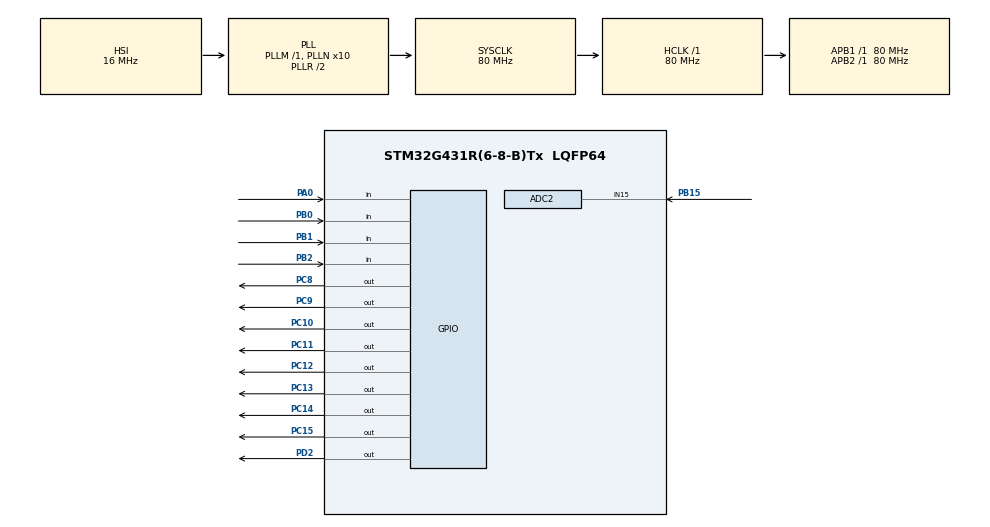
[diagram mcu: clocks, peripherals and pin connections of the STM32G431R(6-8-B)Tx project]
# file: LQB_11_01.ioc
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ADC2.Channel-0\#ChannelRegularConversion=ADC_CHANNEL_15
ADC2.NbrOfConversionFlag=1
ADC2.OffsetNumber-0\#ChannelRegularConversion=ADC_OFFSET_NONE
ADC2.Rank-0\#ChannelRegularConversion=1
ADC2.SamplingTime-0\#ChannelRegularConversion=ADC_SAMPLETIME_2CYCLES_5
Mcu.Family=STM32G4
Mcu.Name=STM32G431R(6-8-B)Tx
Mcu.Package=LQFP64
NVIC.PriorityGroup=NVIC_PRIORITYGROUP_4
NVIC.TIM6_DAC_IRQn=true\:3\:0\:true\:false\:true\:true\:true
PA0.Signal=GPIO_Input
PB0.Signal=GPIO_Input
PB1.Signal=GPIO_Input
PB15.Mode=IN15-Single-Ended
PB15.Signal=ADC2_IN15
PB2.Signal=GPIO_Input
PC10.PinState=GPIO_PIN_SET
PC10.Signal=GPIO_Output
PC11.PinState=GPIO_PIN_SET
PC11.Signal=GPIO_Output
PC12.PinState=GPIO_PIN_SET
PC12.Signal=GPIO_Output
PC13.PinState=GPIO_PIN_SET
PC13.Signal=GPIO_Output
PC14-OSC32_IN.PinState=GPIO_PIN_SET
PC14-OSC32_IN.Signal=GPIO_Output
PC15-OSC32_OUT.PinState=GPIO_PIN_SET
PC15-OSC32_OUT.Signal=GPIO_Output
PC8.PinState=GPIO_PIN_SET
PC8.Signal=GPIO_Output
PC9.PinState=GPIO_PIN_SET
PC9.Signal=GPIO_Output
PD2.Signal=GPIO_Output
ProjectManager.HeapSize=0x200
ProjectManager.StackSize=0x400
ProjectManager.TargetToolchain=MDK-ARM V5.32
RCC.ADC12Freq_Value=80000000
RCC.AHBFreq_Value=80000000
RCC.APB1Freq_Value=80000000
RCC.APB1TimFreq_Value=80000000
RCC.APB2Freq_Value=80000000
RCC.APB2TimFreq_Value=80000000
RCC.CortexFreq_Value=80000000
RCC.EXTERNAL_CLOCK_VALUE=12288000
RCC.HCLKFreq_Value=80000000
RCC.HSE_VALUE=8000000
RCC.HSI48_VALUE=48000000
RCC.HSI_VALUE=16000000
RCC.LSE_VALUE=32768
RCC.PLLN=10
RCC.SYSCLKFreq_VALUE=80000000
RCC.SYSCLKSource=RCC_SYSCLKSOURCE_PLLCLK
RCC.USBFreq_Value=80000000
RCC.VCOOutputFreq_Value=160000000
TIM6.PeriodNoDither=10000
TIM6.Prescaler=7999
VP_SYS_VS_DBSignals.Mode=DisableDeadBatterySignals
VP_TIM6_VS_ClockSourceINT.Mode=Enable_Timer
board=custom

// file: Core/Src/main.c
/* USER CODE BEGIN Header */
/**
  ******************************************************************************
  * @file           : main.c
  * @brief          : Main program body
  ******************************************************************************
  * @attention
  *
  * Copyright (c) 2022 STMicroelectronics.
  * All rights reserved.
  *
  * This software is licensed under terms that can be found in the LICENSE file
  * in the root directory of this software component.
  * If no LICENSE file comes with this software, it is provided AS-IS.
  *
  ******************************************************************************
  */
/* USER CODE END Header */
#include "main.h"
#include "adc.h"
#include "tim.h"
#include "gpio.h"

/* USER CODE BEGIN Includes */
#include "lcd.h"
#include "stdio.h"
/* USER CODE END Includes */

/* USER CODE BEGIN PV */
__IO uint32_t uwTick_Lcd_Set_Point;
__IO uint32_t uwTick_Key_Set_Point;
__IO uint32_t uwTick_ADC_Set_Point;
__IO uint32_t uwTick_Led_Set_Point;

unsigned char pucStr_Disp[21];
double ADC_Value_AVE, ADC_Value_SUM, ADC_Value_AVE_Old;
unsigned char ucTime;
unsigned char ucKey_Val, ucKey_Down, ucKey_Old;
unsigned char ucState, ucFlag = 0;
double V_max = 3, V_min = 1, V_max_Ctrl = 3, V_min_Ctrl = 1;
unsigned char ucNum_ADC;
unsigned long ulSec;
unsigned char ucLed;
/* USER CODE END PV */

void SystemClock_Config(void);
/* USER CODE BEGIN PFP */
void LCD_Proc(void);
void Key_Proc(void);
void ADC_Proc(void);
void Led_Proc(void);
/* USER CODE END PFP */

int main(void)
{

  /* MCU Configuration--------------------------------------------------------*/

  /* Reset of all peripherals, Initializes the Flash interface and the Systick. */
  HAL_Init();

  /* Configure the system clock */
  SystemClock_Config();

  /* Initialize all configured peripherals */
  MX_GPIO_Init();
  MX_ADC2_Init();
  MX_TIM6_Init();
  /* USER CODE BEGIN 2 */
	LCD_Init();
	LCD_Clear(Black);
	LCD_SetBackColor(Black);
	LCD_SetTextColor(White);

	Led_Disp(0x00);
  /* USER CODE END 2 */

  /* Infinite loop */
  while (1)
  {

    /* USER CODE BEGIN 3 */
		LCD_Proc();
		Key_Proc();
		ADC_Proc();
		Led_Proc();
  }
  /* USER CODE END 3 */
}

void SystemClock_Config(void)
{
  RCC_OscInitTypeDef RCC_OscInitStruct = {0};
  RCC_ClkInitTypeDef RCC_ClkInitStruct = {0};

  /** Configure the main internal regulator output voltage
  */
  HAL_PWREx_ControlVoltageScaling(PWR_REGULATOR_VOLTAGE_SCALE1);
  /** Initializes the RCC Oscillators according to the specified parameters
  * in the RCC_OscInitTypeDef structure.
  */
  RCC_OscInitStruct.OscillatorType = RCC_OSCILLATORTYPE_HSI;
  RCC_OscInitStruct.HSIState = RCC_HSI_ON;
  RCC_OscInitStruct.HSICalibrationValue = RCC_HSICALIBRATION_DEFAULT;
  RCC_OscInitStruct.PLL.PLLState = RCC_PLL_ON;
  RCC_OscInitStruct.PLL.PLLSource = RCC_PLLSOURCE_HSI;
  RCC_OscInitStruct.PLL.PLLM = RCC_PLLM_DIV1;
  RCC_OscInitStruct.PLL.PLLN = 10;
  RCC_OscInitStruct.PLL.PLLP = RCC_PLLP_DIV2;
  RCC_OscInitStruct.PLL.PLLQ = RCC_PLLQ_DIV2;
  RCC_OscInitStruct.PLL.PLLR = RCC_PLLR_DIV2;
  if (HAL_RCC_OscConfig(&RCC_OscInitStruct) != HAL_OK)
  {
    Error_Handler();
  }
  /** Initializes the CPU, AHB and APB buses clocks
  */
  RCC_ClkInitStruct.ClockType = RCC_CLOCKTYPE_HCLK|RCC_CLOCKTYPE_SYSCLK
                              |RCC_CLOCKTYPE_PCLK1|RCC_CLOCKTYPE_PCLK2;
  RCC_ClkInitStruct.SYSCLKSource = RCC_SYSCLKSOURCE_PLLCLK;
  RCC_ClkInitStruct.AHBCLKDivider = RCC_SYSCLK_DIV1;
  RCC_ClkInitStruct.APB1CLKDivider = RCC_HCLK_DIV1;
  RCC_ClkInitStruct.APB2CLKDivider = RCC_HCLK_DIV1;

  if (HAL_RCC_ClockConfig(&RCC_ClkInitStruct, FLASH_LATENCY_2) != HAL_OK)
  {
    Error_Handler();
  }
}

/* USER CODE BEGIN 4 */
void LCD_Proc(void)
{
	if((uwTick - uwTick_Lcd_Set_Point) <= 500)
		return;

	uwTick_Lcd_Set_Point = uwTick;

	if(!ucState)
	{
		LCD_DisplayStringLine(Line0, (u8*)"      Data          ");

		sprintf((char*)pucStr_Disp, " V:%3.2lfV            ", ADC_Value_AVE);
		LCD_DisplayStringLine(Line2, pucStr_Disp);

		sprintf((char*)pucStr_Disp, " T:%02lus              ", ulSec);
		LCD_DisplayStringLine(Line3, pucStr_Disp);
	}
	else
	{
		LCD_DisplayStringLine(Line0, (u8*)"      Para          ");

		sprintf((char*)pucStr_Disp, " Vmax:%2.1lfV        ", V_max);
		LCD_DisplayStringLine(Line2, pucStr_Disp);

		sprintf((char*)pucStr_Disp, " Vmin:%2.1lfV        ", V_min);
		LCD_DisplayStringLine(Line3, pucStr_Disp);
	}
}

void Key_Proc(void)
{
	if((uwTick - uwTick_Key_Set_Point) <= 100)
		return;

	uwTick_Key_Set_Point = uwTick;

	ucKey_Val = Key_Scan();
	ucKey_Down = ucKey_Val & (ucKey_Old ^ ucKey_Val);
	ucKey_Old = ucKey_Val;

	switch(ucKey_Down)
	{
		case 1:
			if(!ucState)
			{
				ucState = 1;
			}
			else
			{
				ucState = 0;
				if(V_max >= (V_min + 1))
				{
					V_max_Ctrl = V_max;
					V_min_Ctrl = V_min;
					ucLed &= ~0x02;
				}
				else
				{
					V_max = V_max_Ctrl;
					V_min = V_min_Ctrl;
					ucLed |= 0x02;
				}
			}
		break;

		case 2:
			if(ucState)
			{
				V_max += 0.1;
				if(V_max >= 3.4)
					V_max = 0;
			}
		break;

		case 3:
			if(ucState)
			{
				V_min += 0.1;
				if(V_min >= 3.4)
					V_min = 0;
			}
		break;
	}
}

void ADC_Proc(void)
{
	if((uwTick - uwTick_ADC_Set_Point) <= 50)
		return;

	uwTick_ADC_Set_Point = uwTick;

//该滤波法存在问题：当ADC_Value_AVE的初始值位于V_min和V_max之间时，ulSec会增加。（不清楚原因）
//	ucNum_ADC++;
//	ADC_Value_SUM += ADC2_Get() * 3.3 / 4095;
//	if(ucNum_ADC == 10)
//	{
//		ucNum_ADC = 0;
//
//		ADC_Value_AVE = ADC_Value_SUM / 10;
//
//		ADC_Value_SUM = 0;
//	}
	for(ucNum_ADC = 0; ucNum_ADC < 10; ucNum_ADC++)
	{
		ADC_Value_SUM += (double)ADC2_Get() * 3.3 / 4095;
		HAL_Delay(10);
	}
	ADC_Value_AVE = ADC_Value_SUM / 10;
	ADC_Value_SUM = 0;

	if(ADC_Value_AVE < V_min_Ctrl)
	{
		ucFlag = 1;
	}
	if((ADC_Value_AVE > V_min_Ctrl) && (ADC_Value_AVE < V_max_Ctrl))
	{
		if(ucFlag == 1)
		{
			ucFlag = 2;
			ulSec = 0;
			ucLed |= 0x01;
			HAL_TIM_Base_Start_IT(&htim6);
		}
	}
	if(ADC_Value_AVE > V_max_Ctrl)
	{
		ucLed &= ~0x01;
		HAL_TIM_Base_Stop_IT(&htim6);
	}
}

void Led_Proc(void)
{
	if((uwTick - uwTick_Led_Set_Point) <= 50)
		return;

	uwTick_Led_Set_Point = uwTick;

	Led_Disp(ucLed);
}

void HAL_TIM_PeriodElapsedCallback(TIM_HandleTypeDef *htim)
{
	if(htim -> Instance == TIM6)
	{
			ulSec++;
	}
}
/* USER CODE END 4 */

void Error_Handler(void)
{
  __disable_irq();
  while (1)
  {
  }
}
